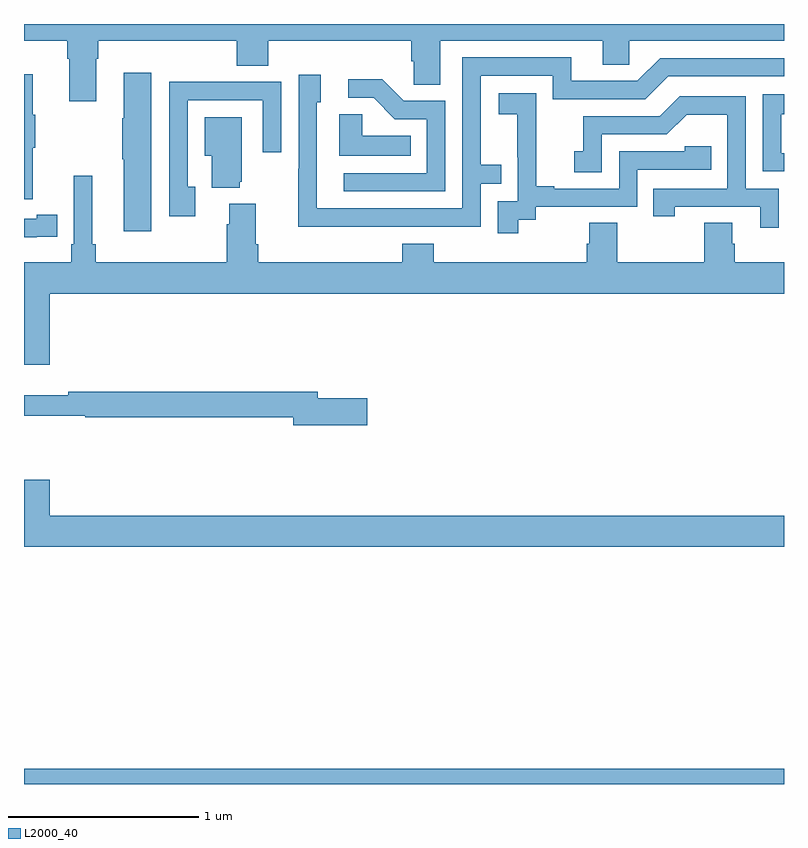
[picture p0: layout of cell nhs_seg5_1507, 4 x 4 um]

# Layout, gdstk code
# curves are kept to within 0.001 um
import gdstk
lib = gdstk.Library(unit=1e-6, precision=1e-09)
def R(c, l, rs):  # rectangles x0, y0, x1, y1
    for r in rs: c.add(gdstk.rectangle(r[:2], r[2:], *l))
def P(c, l, *ps):  # polygons
    for p in ps: c.add(gdstk.Polygon(p, *l))
L2000_40 = (2000, 40)

nhs_seg5_1507 = lib.new_cell('nhs_seg5_1507')
R(nhs_seg5_1507, L2000_40, [(201,900.799,205,900.88)])
P(nhs_seg5_1507, L2000_40, [(201.379,904.616),(201.392,904.616),(201.392,904.712),(202.121,904.712),(202.121,904.579),(202.286,904.579),(202.286,904.712),(203.039,904.712),(203.039,904.603),(203.052,904.603),(203.052,904.48),(203.191,904.48),(203.191,904.712),(204.047,904.712),(204.047,904.585),(204.186,904.585),(204.186,904.712),(205,904.712),(205,904.799),(201,904.799),(201,904.712),(201.227,904.712),(201.227,904.616),(201.239,904.616),(201.239,904.392),(201.379,904.392)],
  [(202.907,903.732),(203.403,903.732),(203.403,903.957),(203.513,903.957),(203.513,904.058),(203.403,904.058),(203.403,904.527),(203.784,904.527),(203.784,904.404),(204.27,904.404),(204.39,904.524),(205,904.524),(205,904.62),(204.348,904.62),(204.228,904.5),(203.881,904.5),(203.881,904.623),(203.307,904.623),(203.307,903.828),(202.542,903.828),(202.542,904.386),(202.561,904.386),(202.561,904.531),(202.446,904.531),(202.446,904.037),(202.444,904.037),(202.444,903.731)],
  [(201.67,904.543),(201.524,904.543),(201.524,904.304),(201.517,904.304),(201.517,904.087),(201.524,904.087),(201.524,903.708),(201.67,903.708)],
  [(201.047,904.147),(201.058,904.147),(201.058,904.321),(201.047,904.321),(201.047,904.534),(201,904.534),(201,903.876),(201.047,903.876)],
  [(203.217,904.395),(202.998,904.395),(202.885,904.508),(202.707,904.508),(202.707,904.41),(202.841,904.41),(202.952,904.299),(203.121,904.299),(203.121,904.014),(202.683,904.014),(202.683,903.918),(203.217,903.918)],
  [(201.901,903.942),(201.861,903.942),(201.861,904.398),(202.257,904.398),(202.257,904.125),(202.353,904.125),(202.353,904.494),(202.037,904.494),(202.037,904.496),(201.765,904.496),(201.765,903.786),(201.901,903.786)],
  [(203.602,903.769),(203.694,903.769),(203.694,903.837),(204.228,903.837),(204.228,904.032),(204.617,904.032),(204.617,904.155),(204.477,904.155),(204.477,904.128),(204.132,904.128),(204.132,903.933),(203.791,903.933),(203.791,903.946),(203.696,903.946),(203.696,904.229),(203.697,904.229),(203.697,904.435),(203.499,904.435),(203.499,904.325),(203.597,904.325),(203.597,904.097),(203.598,904.097),(203.598,903.867),(203.493,903.867),(203.493,903.699),(203.602,903.699)],
  [(205,904.119),(204.985,904.119),(204.985,904.323),(205,904.323),(205,904.429),(204.888,904.429),(204.888,904.023),(205,904.023)],
  [(204.972,903.933),(204.798,903.933),(204.798,904.419),(204.452,904.419),(204.347,904.314),(203.944,904.314),(203.944,904.129),(203.895,904.129),(203.895,904.02),(204.042,904.02),(204.042,904.218),(204.384,904.218),(204.488,904.322),(204.702,904.322),(204.702,903.933),(204.313,903.933),(204.313,903.786),(204.424,903.786),(204.424,903.837),(204.875,903.837),(204.875,903.726),(204.972,903.726)],
  [(203.036,904.21),(202.779,904.21),(202.779,904.325),(202.658,904.325),(202.658,904.106),(203.036,904.106)],
  [(202.136,903.969),(202.147,903.969),(202.147,904.309),(201.95,904.309),(201.95,904.106),(201.989,904.106),(201.989,903.938),(202.136,903.938)],
  [(201.136,903.38),(205,903.38),(205,903.544),(204.74,903.544),(204.74,903.642),(204.727,903.642),(204.727,903.752),(204.58,903.752),(204.58,903.544),(204.123,903.544),(204.123,903.752),(203.975,903.752),(203.975,903.642),(203.963,903.642),(203.963,903.544),(203.156,903.544),(203.156,903.643),(202.991,903.643),(202.991,903.544),(202.232,903.544),(202.232,903.64),(202.219,903.64),(202.219,903.853),(202.079,903.853),(202.079,903.746),(202.067,903.746),(202.067,903.544),(201.377,903.544),(201.377,903.64),(201.358,903.64),(201.358,904),(201.261,904),(201.261,903.64),(201.248,903.64),(201.248,903.544),(201,903.544),(201,903.006),(201.136,903.006)],
  [(201.068,903.678),(201.176,903.678),(201.176,903.794),(201.068,903.794),(201.068,903.774),(201,903.774),(201,903.677),(201.068,903.677)],
  [(202.807,902.828),(202.546,902.828),(202.546,902.864),(201.232,902.864),(201.232,902.845),(201,902.845),(201,902.736),(201.322,902.736),(201.322,902.728),(202.418,902.728),(202.418,902.686),(202.807,902.686)],
  [(205,902.212),(201.136,902.212),(201.136,902.401),(201,902.401),(201,902.048),(205,902.048)])

lib.write_gds('nhs_seg5_1507.gds')
